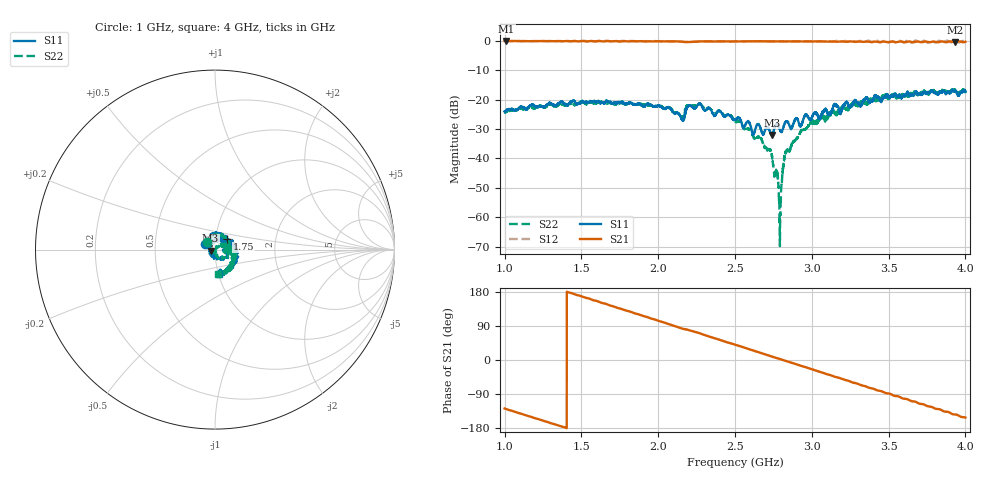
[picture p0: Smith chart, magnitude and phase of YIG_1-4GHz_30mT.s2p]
#  HZ  S  RI  R  50.0
! Rohde & Schwarz ZVL13 2Ports - Version 3.31 - 1303.6509k13 SN: 101088
! Date: 2023-03-06 14:35:28
! Data & Calibration Information:
! Trc4:S11(TOSM) Trc2:S21(TOSM) Trc3:S12(TOSM) Trc5:S22(TOSM)
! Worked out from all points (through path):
!   4000 points, 1 GHz to 4 GHz, reference 50 ohm
!   highest |S21| = -0.06 dB at 1.012 GHz (marker M1); lowest = -0.5 dB at 3.93 GHz (marker M2)
!   group delay of S21, straight-line fit = 356 ps
!   lowest |S11| = -32.0 dB at 2.739 GHz (marker M3), VSWR 1.05, Z = 47.6 - j0.552 ohm
!   |S11| at or under -10 dB: start of sweep to end of sweep
!   |S22| runs from -69.8 to -16.5 dB; largest |S21 - S12| = 0.071
!   S11 on the Smith chart (normalised r, x): 1 GHz: 0.90, +0.06; 1.75 GHz: 1.14, +0.14; 4 GHz: 1.01, -0.28
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1e9  -0.0537 0.0334  -0.6087 -0.7819  -0.6151 -0.7808  -0.0455 0.0396
1.012003e9  -0.0516 0.0379  -0.6332 -0.7649  -0.6264 -0.7605  -0.0465 0.0414
1.255064e9  -0.0258 0.0684  -0.9317 -0.3227  -0.9399 -0.3307  -0.0145 0.074
1.500375e9  0.0204 0.0898  -0.9664 0.2031  -0.9719 0.1966  0.0395 0.0819
1.750188e9  0.068 0.0602  -0.7018 0.6794  -0.7092 0.6826  0.0746 0.0454
2e9  0.0781 0.00329  -0.232 0.9552  -0.2273 0.9559  0.0788 -0.00347
2.157539e9  0.0452 -0.00253  0.1244 0.9583  0.1279 0.959  0.0486 -0.00929
2.195799e9  0.0766 -0.0125  0.1781 0.9363  0.1838 0.942  0.0783 -0.012
2.272318e9  0.0728 -0.0454  0.327 0.9194  0.3311 0.9207  0.0696 -0.047
2.500375e9  -0.00591 -0.0454  0.743 0.6339  0.7442 0.6296  0.0146 -0.0404
2.618155e9  -0.0146 -0.0212  0.8874 0.4165  0.8879 0.4176  0.0038 -0.0234
2.663916e9  -0.0201 -0.027  0.9267 0.3221  0.9252 0.3201  -0.00276 -0.0225
2.738935e9  -0.0244 -0.0058  0.966 0.1579  0.9703 0.1559  -0.00399 -0.0112
2.794449e9  -0.0287 0.00745  0.9757 0.0371  0.9816 0.0352  -0.000171 0.00117
2.817704e9  -0.0268 0.0228  0.9747 -0.0138  0.9734 -0.0142  0.00521 0.00724
2.833458e9  -0.0325 0.0269  0.9739 -0.0473  0.9797 -0.0422  0.0109 0.00804
3e9  0.00523 0.0495  0.8885 -0.4019  0.8981 -0.4038  0.0271 0.0304
3.268567e9  0.0712 0.0418  0.4885 -0.8332  0.4976 -0.8517  0.085 0.0146
3.500375e9  0.1115 -0.00414  0.0286 -0.9492  0.0224 -0.9401  0.0959 -0.0343
3.673668e9  0.1196 -0.0613  -0.3278 -0.9001  -0.3518 -0.944  0.0928 -0.0925
3.930233e9  0.059 -0.1245  -0.7596 -0.5569  -0.8068 -0.59  0.0429 -0.1411
4e9  0.0231 -0.1347  -0.8485 -0.4545  -0.8649 -0.4085  0.0148 -0.1311
